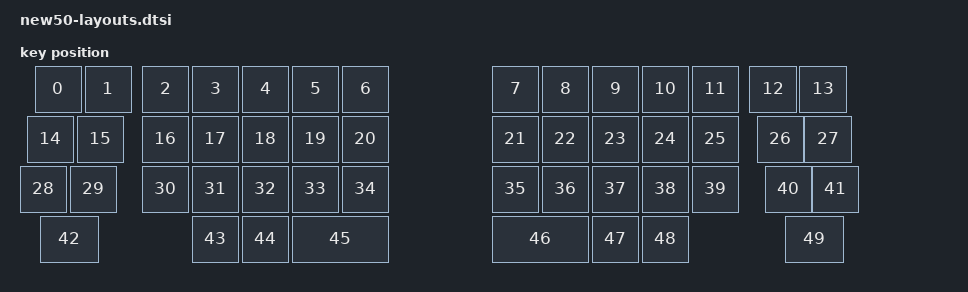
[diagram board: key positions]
#include <physical_layouts.dtsi>


&uart0 {
    status = "okay";
    compatible = "nordic,nrf-uarte";
    current-speed = <115200>;
     pinctrl-0 = <&uart0_default>;
};

/ {
    physical_layout0: physical_layout_0 {
        compatible = "zmk,physical-layout";
        display-name = "new50";
        kscan = <&kscan0>;
        transform = <&matrix_transform0>;
        
keys  //                     w   h    x    y     rot    rx    ry
            = <&key_physical_attrs 100 100   30    0       0     0     0>
            , <&key_physical_attrs 100 100  130    0       0     0     0>
            , <&key_physical_attrs 100 100  245    0       0     0     0>
            , <&key_physical_attrs 100 100  345    0       0     0     0>
            , <&key_physical_attrs 100 100  445    0       0     0     0>
            , <&key_physical_attrs 100 100  545    0       0     0     0>
            , <&key_physical_attrs 100 100  645    0       0     0     0>
            , <&key_physical_attrs 100 100  945    0       0     0     0>
            , <&key_physical_attrs 100 100 1045    0       0     0     0>
            , <&key_physical_attrs 100 100 1145    0       0     0     0>
            , <&key_physical_attrs 100 100 1245    0       0     0     0>
            , <&key_physical_attrs 100 100 1345    0       0     0     0>
            , <&key_physical_attrs 100 100 1460    0       0     0     0>
            , <&key_physical_attrs 100 100 1560    0       0     0     0>
            , <&key_physical_attrs 100 100   15  100       0     0     0>
            , <&key_physical_attrs 100 100  115  100       0     0     0>
            , <&key_physical_attrs 100 100  245  100       0     0     0>
            , <&key_physical_attrs 100 100  345  100       0     0     0>
            , <&key_physical_attrs 100 100  445  100       0     0     0>
            , <&key_physical_attrs 100 100  545  100       0     0     0>
            , <&key_physical_attrs 100 100  645  100       0     0     0>
            , <&key_physical_attrs 100 100  945  100       0     0     0>
            , <&key_physical_attrs 100 100 1045  100       0     0     0>
            , <&key_physical_attrs 100 100 1145  100       0     0     0>
            , <&key_physical_attrs 100 100 1245  100       0     0     0>
            , <&key_physical_attrs 100 100 1345  100       0     0     0>
            , <&key_physical_attrs 100 100 1475  100       0     0     0>
            , <&key_physical_attrs 100 100 1570  100       0     0     0>
            , <&key_physical_attrs 100 100    0  200       0     0     0>
            , <&key_physical_attrs 100 100  100  200       0     0     0>
            , <&key_physical_attrs 100 100  245  200       0     0     0>
            , <&key_physical_attrs 100 100  345  200       0     0     0>
            , <&key_physical_attrs 100 100  445  200       0     0     0>
            , <&key_physical_attrs 100 100  545  200       0     0     0>
            , <&key_physical_attrs 100 100  645  200       0     0     0>
            , <&key_physical_attrs 100 100  945  200       0     0     0>
            , <&key_physical_attrs 100 100 1045  200       0     0     0>
            , <&key_physical_attrs 100 100 1145  200       0     0     0>
            , <&key_physical_attrs 100 100 1245  200       0     0     0>
            , <&key_physical_attrs 100 100 1345  200       0     0     0>
            , <&key_physical_attrs 100 100 1490  200       0     0     0>
            , <&key_physical_attrs 100 100 1585  200       0     0     0>
            , <&key_physical_attrs 125 100   40  300       0     0     0>
            , <&key_physical_attrs 100 100  345  300       0     0     0>
            , <&key_physical_attrs 100 100  445  300       0     0     0>
            , <&key_physical_attrs 200 100  545  300       0     0     0>
            , <&key_physical_attrs 200 100  945  300       0     0     0>
            , <&key_physical_attrs 100 100 1145  300       0     0     0>
            , <&key_physical_attrs 100 100 1245  300       0     0     0>
            , <&key_physical_attrs 125 100 1530  300       0     0     0>
            ;
    };
};
